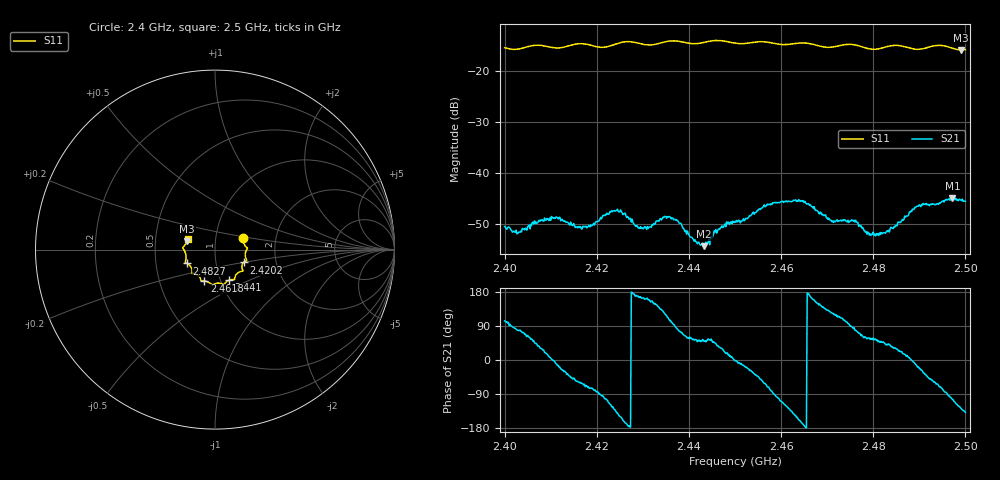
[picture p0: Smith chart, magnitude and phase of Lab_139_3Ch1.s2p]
# Hz S RI R 50
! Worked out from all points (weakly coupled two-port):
!   601 points, 2.4 GHz to 2.5 GHz, reference 50 ohm
!   highest |S21| = -44.85 dB at 2.4972 GHz (marker M1); lowest = -54.3 dB at 2.4433 GHz (marker M2)
!   lowest |S11| = -15.8 dB at 2.499 GHz (marker M3), VSWR 1.39, Z = 36.4 + j3.45 ohm
!   |S11| at or under -10 dB: start of sweep to end of sweep
!   S12 and S22 are empty: the file has one direction only
!   S11 on the Smith chart (normalised r, x): 2.4 GHz: 1.36, +0.18; 2.4202 GHz: 1.36, -0.20; 2.441 GHz: 1.10, -0.39; 2.4618 GHz: 0.84, -0.30; 2.4827 GHz: 0.72, -0.12; 2.5 GHz: 0.73, +0.09
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2.4e9  0.1588 0.0629  -0.000684 0.00292  0 0  0 0
2.403167e9  0.1644 0.0269  0.000565 0.00258  0 0  0 0
2.410667e9  0.1704 -0.0131  0.0036 -8.38e-05  0 0  0 0
2.416667e9  0.1772 -0.0608  0.00135 -0.0025  0 0  0 0
2.420167e9  0.1588 -0.0714  0.000344 -0.00337  0 0  0 0
2.424e9  0.1513 -0.1068  -0.00285 -0.00315  0 0  0 0
2.4295e9  0.1414 -0.1226  -0.00291 0.000676  0 0  0 0
2.433333e9  0.1117 -0.1507  -0.00266 0.00214  0 0  0 0
2.437e9  0.1077 -0.1679  9.72e-05 0.00353  0 0  0 0
2.441e9  0.0788 -0.1699  0.00128 0.00183  0 0  0 0
2.443333e9  0.0588 -0.1838  0.00126 0.00145  0 0  0 0
2.45e9  0.0287 -0.1875  0.00338 -0.000139  0 0  0 0
2.461833e9  -0.059 -0.1754  -0.00339 -0.00405  0 0  0 0
2.466667e9  -0.0787 -0.1684  -0.0045 0.00136  0 0  0 0
2.471167e9  -0.1057 -0.1379  -0.00187 0.00285  0 0  0 0
2.479167e9  -0.1304 -0.1037  0.0013 0.0021  0 0  0 0
2.482667e9  -0.1557 -0.0771  0.00192 0.00172  0 0  0 0
2.483333e9  -0.1602 -0.0751  0.00204 0.00186  0 0  0 0
2.4895e9  -0.162 -0.031  0.00457 -0.00131  0 0  0 0
2.497167e9  -0.1674 0.0252  -0.00136 -0.00556  0 0  0 0
2.499e9  -0.1555 0.0462  -0.00332 -0.00435  0 0  0 0
2.5e9  -0.1522 0.0603  -0.00397 -0.00355  0 0  0 0
